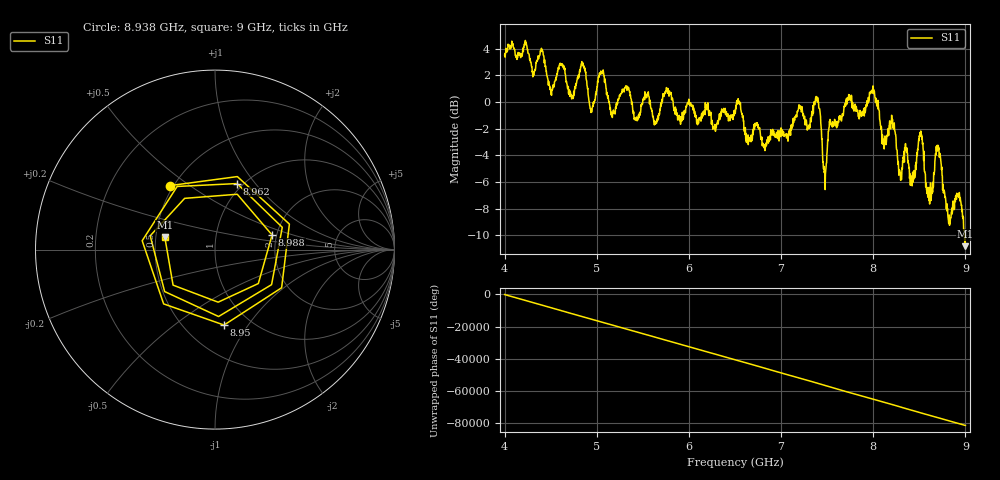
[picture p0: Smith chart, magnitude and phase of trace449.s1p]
! Created with skrf 1.8.0 (http://scikit-rf.org).
# Hz S RI R 50.0
!freq ReS11 ImS11
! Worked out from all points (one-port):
!   1601 points, 4 GHz to 9 GHz, reference 50 ohm
!   lowest |S11| = -10.8 dB at 9 GHz (marker M1), VSWR 1.81, Z = 27.9 + j4.16 ohm
!   |S11| at or under -10 dB: 8.98965 GHz to end of sweep
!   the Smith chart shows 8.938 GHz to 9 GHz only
!   S11 on the Smith chart (normalised r, x): 8.938 GHz: 0.48, +0.42; 8.95 GHz: 0.76, -0.78; 8.962 GHz: 0.94, +0.81; 8.988 GHz: 1.89, +0.35; 9 GHz: 0.56, +0.08
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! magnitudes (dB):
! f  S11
! 4 GHz  3.5
! 4.625 GHz  2.8
! 4.941 GHz  -0.5
! 5.05 GHz  2.2
! 5.25 GHz  0.5
! 5.875 GHz  -1.0
! 6.5 GHz  -0.9
! 6.819 GHz  -3.4
! 7.125 GHz  -1.8
! 7.394 GHz  0.0
! 7.475 GHz  -5.3
! 7.534 GHz  -1.4
! 7.75 GHz  0.2
! 7.991 GHz  0.7
! 8.119 GHz  -3.5
! 8.219 GHz  -1.8
! 8.291 GHz  -5.3
! 8.375 GHz  -4.5
! 8.428 GHz  -5.3
! 8.516 GHz  -2.2
! 8.616 GHz  -7.1
! 8.703 GHz  -3.3
! 8.819 GHz  -9.1
! 8.938 GHz  -7.2
! 8.95 GHz  -7.5
! 8.962 GHz  -8.2
! 8.988 GHz  -9.7
! 9 GHz  -10.8
